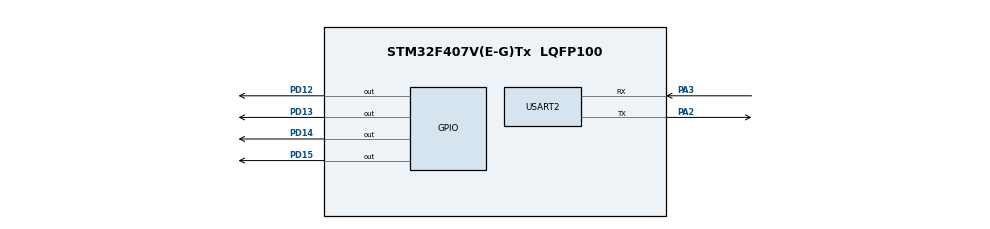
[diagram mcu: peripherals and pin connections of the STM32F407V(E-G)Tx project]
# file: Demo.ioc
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Mcu.Family=STM32F4
Mcu.Name=STM32F407V(E-G)Tx
Mcu.Package=LQFP100
NVIC.PriorityGroup=NVIC_PRIORITYGROUP_0
PA2.Mode=Asynchronous
PA2.Signal=USART2_TX
PA3.Mode=Asynchronous
PA3.Signal=USART2_RX
PD12.Signal=GPIO_Output
PD13.Signal=GPIO_Output
PD14.Signal=GPIO_Output
PD15.Signal=GPIO_Output
PH0-OSC_IN.Mode=HSE-External-Oscillator
PH0-OSC_IN.Signal=RCC_OSC_IN
PH1-OSC_OUT.Mode=HSE-External-Oscillator
PH1-OSC_OUT.Signal=RCC_OSC_OUT
ProjectManager.HeapSize=0x400
ProjectManager.StackSize=0x800
ProjectManager.TargetToolchain=CMake
RCC.48MHZClocksFreq_Value=48000000
RCC.AHBFreq_Value=168000000
RCC.APB1CLKDivider=RCC_HCLK_DIV4
RCC.APB1Freq_Value=42000000
RCC.APB1TimFreq_Value=84000000
RCC.APB2CLKDivider=RCC_HCLK_DIV2
RCC.APB2Freq_Value=84000000
RCC.APB2TimFreq_Value=168000000
RCC.CortexFreq_Value=168000000
RCC.HCLKFreq_Value=168000000
RCC.HSE_VALUE=8000000
RCC.HSI_VALUE=16000000
RCC.LSE_VALUE=32768
RCC.PLLM=4
RCC.PLLN=168
RCC.PLLQ=7
RCC.PLLSourceVirtual=RCC_PLLSOURCE_HSE
RCC.SYSCLKFreq_VALUE=168000000
RCC.SYSCLKSource=RCC_SYSCLKSOURCE_PLLCLK
RCC.VCOOutputFreq_Value=336000000
USART2.VirtualMode=VM_ASYNC
VP_RNG_VS_RNG.Mode=RNG_Activate
VP_RTC_VS_RTC_Activate.Mode=RTC_Enabled
board=STM32F407G-DISC1

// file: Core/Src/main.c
/* USER CODE BEGIN Header */
/**
  ******************************************************************************
  * @file           : main.c
  * @brief          : Main program body
  ******************************************************************************
  * @attention
  *
  * Copyright (c) 2025 STMicroelectronics.
  * All rights reserved.
  *
  * This software is licensed under terms that can be found in the LICENSE file
  * in the root directory of this software component.
  * If no LICENSE file comes with this software, it is provided AS-IS.
  *
  ******************************************************************************
  */
/* USER CODE END Header */
#include "main.h"
#include "rng.h"
#include "rtc.h"
#include "usart.h"
#include "gpio.h"

/* USER CODE BEGIN Includes */
#include <stdlib.h>
#include "rand.h"
#include "benchmark.h"
/* USER CODE END Includes */

void SystemClock_Config(void);

/* USER CODE BEGIN 0 */
#define   DWT_CR    					      *(u32*)0xE0001000
#define   DWT_CYCCNT    				    *(u32*)0xE0001004
#define   DEM_CR    					      *(u32*)0xE000EDFC
#define 	DEM_CR_TRCENA    			    (1<<24)
#define   DWT_CR_CYCCNTENA    		  (1<<0)
#define		SystemCoreClockFrequency 	168000000

void DWT_Start(void){
  DEM_CR |= (u32)DEM_CR_TRCENA;				  // 使能DWT
  DWT_CYCCNT = (u32)0;						      // 寄存器清零
  DWT_CR |= (u32)DWT_CR_CYCCNTENA;			// 使能寄存器，开始计时
}
double DWT_End(void){
  DWT_CR |= (u32)0;			// 去能寄存器，关闭计时
  return (double) DWT_CYCCNT / SystemCoreClockFrequency;
}

#ifdef USE_FULL_LL_DRIVER
uint8_t __io_putchar(const int ch){
  const uint8_t temp[1]={ch};
  LL_USART_TransmitData8(USART2,temp[0]);
  while (LL_USART_IsActiveFlag_TXE(USART2) == RESET) {;};
  return (ch);
}

int stm32_rng(void *buf, u32 len) {
  if (buf == NULL)
    return -1;
  const u32 wl = len >> 2, bl = len & 0x3;
  u32 *wbuf = buf;
  for (u32 i = 0; i < wl; i++) {
      wbuf[i] = LL_RNG_ReadRandData32(RNG);
  }
  u8 *bbuf = (u8 *)(wbuf + wl);
  u32 tmp = LL_RNG_ReadRandData32(RNG);
  if (bl > 0) {
    for (u32 i = 0; i < bl; i++) {
      bbuf[i] = tmp & 0xff;
      tmp >>= 8;
    }
  }
  return 0;
}
#endif
#ifdef USE_HAL_DRIVER
int _write(int file, char *ptr, int len) {
  HAL_UART_Transmit(&huart2, (uint8_t *)ptr, len, HAL_MAX_DELAY);
  return len;
}
int stm32_rng(void *buff, u32 len)
{
  u8 *buf = buff;
  uint32_t i = 0;
  while (i < len) {
    uint32_t rnd32;
    if (HAL_RNG_GenerateRandomNumber(&hrng, &rnd32) != HAL_OK) {
      return -1;
    }
    size_t cplen = (len - i) > 4 ? 4 : (len - i);
    memcpy(buf + i, &rnd32, cplen);
    i += cplen;
  }
  return 0;
}
#endif

void KnownAnswerTests(void){
    int ret;
    const char* result_string[] = { "Fail", "Pass" };
    printf("Start testing each module for correctness...\r\n");
    printf("Module\t\tResult\r\n");

    ret = 1;
    ret &= kat_fp();
    printf("%-16s%s\r\n", "FP", result_string[ret]);

    ret = 1;
    ret &= kat_fn();
    printf("%-16s%s\r\n", "FN", result_string[ret]);

    ret = 1;
    ret &= kat_point();
    printf("%-16s%s\r\n", "POINT", result_string[ret]);

    ret = 1;
    ret &= kat_sm2_sig();
    printf("%-16s%s\r\n", "SM2SIG", result_string[ret]);

    ret = 1;
    ret &= kat_sm2_enc();
    printf("%-16s%s\r\n", "SM2ENC", result_string[ret]);

    ret = 1;
    ret &= kat_sm3();
    printf("%-16s%s\r\n", "SM3", result_string[ret]);

    ret = 1;
    ret &= kat_sm4();
    printf("%-16s%s\r\n", "SM4", result_string[ret]);
    printf("The test is over.\r\n\r\n");
}

#define pb_printf(u) printf("%-16s%-12lu%-12.3f%.3f %s\r\n", u->name, u->count, u->time, u->speed, u->unit);

void PerformanceBenchmarks(void){
    time_reg(DWT_Start, DWT_End);
    PBUint* u = malloc(sizeof(PBUint));
    printf("Start testing the performance benchmarks of each function...\r\n");
    printf("%-16s%-12s%-12s%-12s\r\n","Function", "Count", "Time", "Speed");

    // pb_fp_add(u, 1000000);
    // pb_printf(u);
    // pb_fp_sub(u, 1000000);
    // pb_printf(u);
    // pb_fp_dbl(u, 1000000);
    // pb_printf(u);
    // pb_fp_haf(u, 1000000);
    // pb_printf(u);
    // pb_fp_mul(u, 100000);
    // pb_printf(u);
    // pb_fp_sqr(u, 100000);
    // pb_printf(u);
    // pb_fp_inv(u, 10000);
    // pb_printf(u);

    // pb_point_add(u, 10000);
    // pb_printf(u);
    // pb_japoint_add(u, 10000);
    // pb_printf(u);
    // pb_point_dbl(u, 10000);
    // pb_printf(u);
    // pb_point_mdo(u, 10000);
    // pb_printf(u);
    // pb_point_gen(u, 1000);
    // pb_printf(u);
    // pb_point_mul(u, 100);
    // pb_printf(u);

    pb_sm2_sig(u, 1000);
    pb_printf(u);
    pb_sm2_vfy(u, 100);
    pb_printf(u);
    pb_sm2_enc(u, 100);
    pb_printf(u);
    pb_sm2_dec(u, 100);
    pb_printf(u);

    pb_sm3(u, 10000);
    pb_printf(u);
    pb_sm4_enc(u, 100000);
    pb_printf(u);
    pb_sm4_dec(u, 100000);
    pb_printf(u);

    free(u);
}

/* USER CODE END 0 */

int main(void)
{

  /* MCU Configuration--------------------------------------------------------*/

  /* Reset of all peripherals, Initializes the Flash interface and the Systick. */
  LL_APB2_GRP1_EnableClock(LL_APB2_GRP1_PERIPH_SYSCFG);
  LL_APB1_GRP1_EnableClock(LL_APB1_GRP1_PERIPH_PWR);

  /* System interrupt init*/
  NVIC_SetPriorityGrouping(NVIC_PRIORITYGROUP_0);

  /* Configure the system clock */
  SystemClock_Config();

  /* Initialize all configured peripherals */
  MX_GPIO_Init();
  MX_RNG_Init();
  MX_RTC_Init();
  MX_USART2_UART_Init();
  /* USER CODE BEGIN 2 */
  rand_reg(stm32_rng);
  KnownAnswerTests();
  PerformanceBenchmarks();
  /* USER CODE END 2 */

  /* Infinite loop */
  /* USER CODE BEGIN WHILE */
  while (1)
  {
#ifdef USE_FULL_LL_DRIVER
    LL_mDelay(500);
    LL_GPIO_TogglePin(GPIOD, LL_GPIO_PIN_12);
    LL_mDelay(500);
    LL_GPIO_TogglePin(GPIOD, LL_GPIO_PIN_15);
    printf("Hello World!\r\n");
#endif
#ifdef USE_HAL_DRIVER
    HAL_Delay(500);
    HAL_GPIO_TogglePin(GPIOD, GPIO_PIN_12);
    HAL_Delay(500);
    HAL_GPIO_TogglePin(GPIOD, GPIO_PIN_15);
    printf("Hello World!\r\n");
#endif
    /* USER CODE END WHILE */

  }
}

void SystemClock_Config(void)
{
  LL_FLASH_SetLatency(LL_FLASH_LATENCY_5);
  while(LL_FLASH_GetLatency()!= LL_FLASH_LATENCY_5)
  {
  }
  LL_PWR_SetRegulVoltageScaling(LL_PWR_REGU_VOLTAGE_SCALE1);
  LL_RCC_HSE_Enable();

   /* Wait till HSE is ready */
  while(LL_RCC_HSE_IsReady() != 1)
  {

  }
  LL_RCC_LSI_Enable();

   /* Wait till LSI is ready */
  while(LL_RCC_LSI_IsReady() != 1)
  {

  }
  LL_PWR_EnableBkUpAccess();
  LL_RCC_PLL_ConfigDomain_SYS(LL_RCC_PLLSOURCE_HSE, LL_RCC_PLLM_DIV_4, 168, LL_RCC_PLLP_DIV_2);
  LL_RCC_PLL_ConfigDomain_48M(LL_RCC_PLLSOURCE_HSE, LL_RCC_PLLM_DIV_4, 168, LL_RCC_PLLQ_DIV_7);
  LL_RCC_PLL_Enable();

   /* Wait till PLL is ready */
  while(LL_RCC_PLL_IsReady() != 1)
  {

  }
  while (LL_PWR_IsActiveFlag_VOS() == 0)
  {
  }
  LL_RCC_SetAHBPrescaler(LL_RCC_SYSCLK_DIV_1);
  LL_RCC_SetAPB1Prescaler(LL_RCC_APB1_DIV_4);
  LL_RCC_SetAPB2Prescaler(LL_RCC_APB2_DIV_2);
  LL_RCC_SetSysClkSource(LL_RCC_SYS_CLKSOURCE_PLL);

   /* Wait till System clock is ready */
  while(LL_RCC_GetSysClkSource() != LL_RCC_SYS_CLKSOURCE_STATUS_PLL)
  {

  }
  LL_Init1msTick(168000000);
  LL_SetSystemCoreClock(168000000);
}

void Error_Handler(void)
{
  __disable_irq();
  while (1)
  {
  }
}
